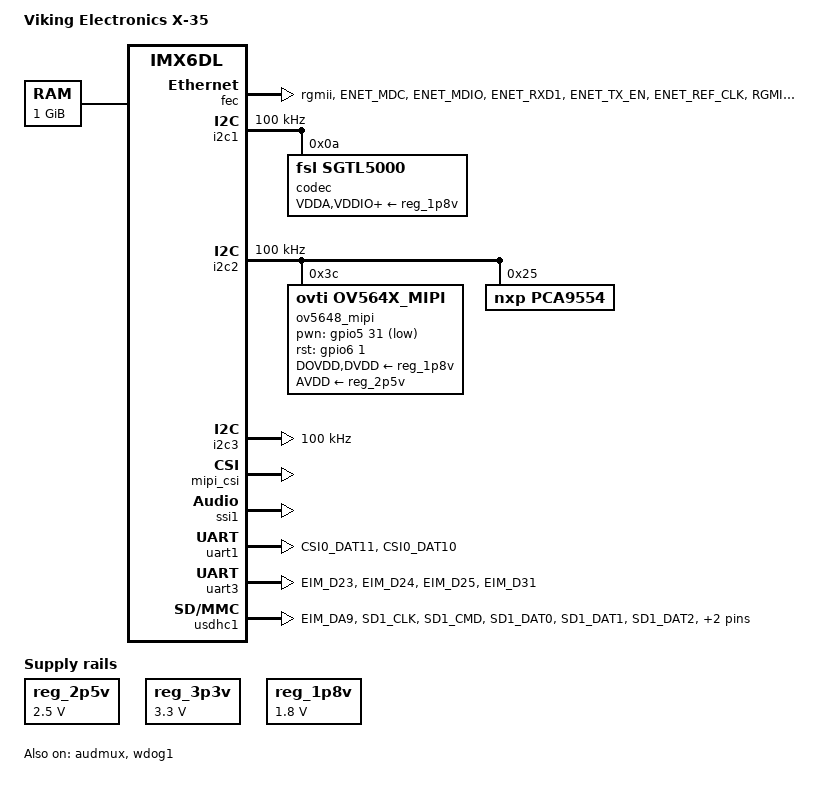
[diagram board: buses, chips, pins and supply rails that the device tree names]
/*
 * Copyright (c) 2018 Viking Electronics, Inc.
 *  All rights reserved
 *
 */
/dts-v1/;

#include <dt-bindings/gpio/gpio.h>
#include <dt-bindings/interrupt-controller/irq.h>
#include "imx6dl.dtsi"
/ {
	model = "Viking Electronics X-35";
	compatible = "fsl,imx6dl";
};

/ {
	chosen {
		stdout-path = &uart1;
	};

	memory: memory {
		reg = <0x10000000 0x40000000>;
	};

	regulators {
		compatible = "simple-bus";
		#address-cells = <1>;
		#size-cells = <0>;

		reg_2p5v: regulator@0 {
			compatible = "regulator-fixed";
			reg = <0>;
			regulator-name = "2P5V";
			regulator-min-microvolt = <2500000>;
			regulator-max-microvolt = <2500000>;
			regulator-always-on;
		};

		reg_3p3v: regulator@1 {
			compatible = "regulator-fixed";
			reg = <1>;
			regulator-name = "3P3V";
			regulator-min-microvolt = <3300000>;
			regulator-max-microvolt = <3300000>;
			regulator-always-on;
		};

		reg_1p8v: regulator@2 {
			compatible = "regulator-fixed";
			reg = <2>;
			regulator-name = "1P8V";
			regulator-min-microvolt = <1800000>;
			regulator-max-microvolt = <1800000>;
			regulator-always-on;
		};
	};

	sound {
		compatible = "fsl,imx-sgtl5000",
			     "fsl,imx-audio-sgtl5000";
		model = "audio-sgtl5000";
		ssi-controller = <&ssi1>;
		audio-routing =
			"MIC_IN", "Mic Jack",
			"Mic Jack", "Mic Bias",
			"Headphone Jack", "HP_OUT";
		mux-int-port = <1>;
		mux-ext-port = <3>;
	};

	v4l2_cap_0 {
		compatible = "fsl,imx6q-v4l2-capture";
		ipu_id = <0>;
		csi_id = <0>;
		mclk_source = <0>;
		status = "okay";
	};

};

&audmux {
	pinctrl-names = "default";
	pinctrl-0 = <&pinctrl_audio>;
	status = "okay";
};

&fec {
	pinctrl-names = "default";
	pinctrl-0 = <&pinctrl_enet>;
	phy-mode = "rgmii";
	phy-reset-gpios = <&gpio1 26 GPIO_ACTIVE_HIGH>;
	status = "okay";
};

&i2c1 {
	clock-frequency = <100000>;
	status = "okay";

	codec: sgtl5000@0a {
		compatible = "fsl,sgtl5000";
		reg = <0x0a>;
		clocks = <&clks 201>;
		VDDA-supply = <&reg_1p8v>;
		VDDIO-supply = <&reg_1p8v>;
		VDDD-supply = <&reg_1p8v>;
	};
};

&i2c2 {
	clock-frequency = <100000>;
	status = "okay";
	
	ov5648_mipi: ov5648_mipi@3c {
		compatible = "ovti,ov564x_mipi";
		reg = <0x3c>;
		clocks = <&clks 200>;
		clock-names = "csi_mclk";
		DOVDD-supply = <&reg_1p8v>;
		AVDD-supply = <&reg_2p5v>;
		DVDD-supply = <&reg_1p8v>;
		pwn-gpios = <&gpio5 31 1>;
		rst-gpios = <&gpio6 1 0>;
		ipu_id = <0>;
		csi_id = <0>;
		mclk = <24000000>;
		mclk_source = <0>;
	};

	pca9554: pca9554@25 {
		compatible = "nxp,pca9554";
		gpio-controller;
		#gpio-cells = <2>;
		#interrupt-cells = <2>;
		reg = <0x25>;
	};
};

&i2c3 {
	clock-frequency = <100000>;
	status = "okay";
};




&mipi_csi {
	ipu_id = <0>;
	csi_id = <0>;
	v_channel = <0>;
	lanes = <2>;
	status = "okay";
};

&ssi1 {
	status = "okay";
};

&uart1 {
	pinctrl-names = "default";
	pinctrl-0 = <&pinctrl_uart1>;
	status = "okay";
};

&uart3 {
	pinctrl-names = "default";
	pinctrl-0 = <&pinctrl_uart3>;
	fsl,uart-has-rtscts;
	status = "okay";
};

&usdhc1 {
	pinctrl-names = "default";
	pinctrl-0 = <&pinctrl_usdhc1>;
	cd-gpios = <&gpio3 9 GPIO_ACTIVE_LOW>;
	status = "okay";
};

&wdog1 {
	status = "okay";
};


&iomuxc {
	pinctrl-names = "default";
	pinctrl-0 = <&pinctrl_hog_1>;

	x-35 {
		pinctrl_hog_1: hoggrp-1 {
			fsl,pins = <
				/* BALL T1 JE1_33 1.8v PIC Reset */
				MX6QDL_PAD_GPIO_2__GPIO1_IO02	0x80000000
				/* BALL T3 JX2_67 3.3v Orange LED */
				MX6QDL_PAD_GPIO_6__GPIO1_IO06	0x80000000
				/* BALL R5 JX2_65 3.3v Green LED */
				MX6QDL_PAD_GPIO_8__GPIO1_IO08	0x80000000
				/* Camera */
				/* BALL L1 JE1_44 1.8v Power Down */
				MX6QDL_PAD_CSI0_DAT13__GPIO5_IO31 0x0000b0b0
				/* BALL M5 JE1_48 1.8v Reset */
				MX6QDL_PAD_CSI0_DAT15__GPIO6_IO01 0x0000b0b0
				/* BALL F21 JE1_45 1.8v SCL */
				MX6QDL_PAD_EIM_D17__I2C3_SCL 	0x4001b8b1
				/* BALL D24 JE1_47 1.8v SDA
				MX6QDL_PAD_EIM_D18__I2C3_SDA	0x4001b8b1
				/* BALL R7 JX2_69 1.8v Clock */
				MX6QDL_PAD_GPIO_3__CCM_CLKO2	0x000000b0
				/* GPIO */
				/* CSI MUX PADS */
				/* BALL P3 JE1_28 1.8v Out */
				MX6QDL_PAD_CSI0_DATA_EN__GPIO5_IO20 0x80000000
				/* BALL N6 JE1_30 1.8v In */
				MX6QDL_PAD_CSI0_DAT8__GPIO5_IO26 0x80000000
				/* BALL N5 JE1_32 1.8v In */
				MX6QDL_PAD_CSI0_DAT9__GPIO5_IO27 0x80000000
				/* BALL M2 JE1_42 1.8v In */
				MX6QDL_PAD_CSI0_DAT12__GPIO5_IO30 0x80000000
				/* BALL M4 JE1_34 1.8v Out */
				MX6QDL_PAD_CSI0_DAT14__GPIO6_IO00 0x80000000
				/* BALL P1 JE1_25 1.8v In */
				MX6QDL_PAD_CSI0_PIXCLK__GPIO5_IO18 0x80000000
				/* BALL N2 JE1_26 1.8v In */
				MX6QDL_PAD_CSI0_VSYNC__GPIO5_IO21 0x80000000
				/* DISP MUX PADS */
				/* BALL P24 JX1_54 3.3v Out */
				MX6QDL_PAD_DISP0_DAT0__GPIO4_IO21  0x0001b0b0
				/* BALL P22 JX1_52 3.3v In */
				MX6QDL_PAD_DISP0_DAT1__GPIO4_IO22  0x0001b0b0
				/* BALL P23 JX1_50 3.3v Out */
				MX6QDL_PAD_DISP0_DAT2__GPIO4_IO23  0x0001b0b0
				/* BALL P21 JX1_48 3.3v In */
				MX6QDL_PAD_DISP0_DAT3__GPIO4_IO24  0x0001b0b0
				/* BALL P20 JX1_46 3.3v Out */
				MX6QDL_PAD_DISP0_DAT4__GPIO4_IO25  0x0001b0b0
				/* BALL R35 JX1_44 3.3v In */
				MX6QDL_PAD_DISP0_DAT5__GPIO4_IO26  0x0001b0b0
				/* BALL R23 JX1_42 3.3v Out */
				MX6QDL_PAD_DISP0_DAT6__GPIO4_IO27  0x0001b0b0
				/* BALL R24 JX1_40 3.3v In */
				MX6QDL_PAD_DISP0_DAT7__GPIO4_IO28  0x0001b0b0
				/* BALL R22 JX1_38 3.3v Out */
				MX6QDL_PAD_DISP0_DAT8__GPIO4_IO29  0x0001b0b0
				/* BALL T25 JX1_36 3.3v In */
				MX6QDL_PAD_DISP0_DAT9__GPIO4_IO30  0x0001b0b0
				/* BALL R21 JX1_34 3.3v Out */
				MX6QDL_PAD_DISP0_DAT10__GPIO4_IO31 0x0001b0b0
				/* BALL T23 JX1_32 3.3v In */
				MX6QDL_PAD_DISP0_DAT11__GPIO5_IO05 0x0001b0b0
				/* BALL T24 JX1_30 3.3v Out */
				MX6QDL_PAD_DISP0_DAT12__GPIO5_IO06 0x0001b0b0
				/* BALL R20 JX1_28 3.3v In */
				MX6QDL_PAD_DISP0_DAT13__GPIO5_IO07 0x0001b0b0
				/* BALL U25 JX1_26 3.3v Out */
				MX6QDL_PAD_DISP0_DAT14__GPIO5_IO08 0x0001b0b0
				/* BALL T22 JX1_24 3.3v In */
				MX6QDL_PAD_DISP0_DAT15__GPIO5_IO09 0x0001b0b0
				/* BALL T21 JX1_22 3.3v Out */
				MX6QDL_PAD_DISP0_DAT16__GPIO5_IO10 0x0001b0b0
				/* BALL U24 JX1_20 3.3v In */
				MX6QDL_PAD_DISP0_DAT17__GPIO5_IO11 0x0001b0b0
				/* BALL V25 JX1_18 3.3v Out */
				MX6QDL_PAD_DISP0_DAT18__GPIO5_IO12 0x0001b0b0
				/* BALL U23 JX1_16 3.3v In */
				MX6QDL_PAD_DISP0_DAT19__GPIO5_IO13 0x0001b0b0
				/* BALL U22 JX1_14 3.3v Out */
				MX6QDL_PAD_DISP0_DAT20__GPIO5_IO14 0x0001b0b0
				/* BALL T20 JX1_12 3.3v In */
				MX6QDL_PAD_DISP0_DAT21__GPIO5_IO15 0x0001b0b0
				/* BALL V24 JX1_10 3.3v Out */
				MX6QDL_PAD_DISP0_DAT22__GPIO5_IO16 0x0001b0b0
				/* BALL W24 JX1_8 3.3v In */
				MX6QDL_PAD_DISP0_DAT23__GPIO5_IO17 0x0001b0b0
				/* EIM MUX PADS */
				/* BALL H19 JX2_40 1.8v In */
				MX6QDL_PAD_EIM_A25__GPIO5_IO02	0x0001b0b0
				/* BALL H24 JE1_55 1.8v Out */
				MX6QDL_PAD_EIM_CS0__GPIO2_IO23	0x0001b0b0
				/* BALL J23 JE1_57 1.8v In */
				MX6QDL_PAD_EIM_CS1__GPIO2_IO24	0x0001b0b0
				/* BALL K22 JE1_51 1.8v Out */
				MX6QDL_PAD_EIM_LBA__GPIO2_IO27	0x0001b0b0
				/* BALL J24 JE1_59 1.8v Out */
				MX6QDL_PAD_EIM_OE__GPIO2_IO25	0x0001b0b0
				/* BALL K20 JE1_53 1.8v In */
				MX6QDL_PAD_EIM_RW__GPIO2_IO26	0x0001b0b0
				/* GPIO MUX PADS */
				/* BALL T2 JE1_35 1.8v In */	
				MX6QDL_PAD_GPIO_9__GPIO1_IO09	0x80000000
				/* BALL P5 JX2_52 3.3v In */
				MX6QDL_PAD_GPIO_19__GPIO4_IO05	0x80000000
				/* KEY MUX PADS */
				/* BALL W6 JX2_19 3.3v In */
				MX6QDL_PAD_KEY_COL2__GPIO4_IO10 0x0001b0b0
				/* BALL U5 JX2_13 3.3v Out */
				MX6QDL_PAD_KEY_COL3__GPIO4_IO12 0x0001b0b0
				/* BALL T6 JX2_25 3.3v In */
				MX6QDL_PAD_KEY_COL4__GPIO4_IO14 0x0001b0b0
				/* BALL W4 JX2_21 3.3v Out */
				MX6QDL_PAD_KEY_ROW2__GPIO4_IO11 0x0001b0b0
				/* BALL T7 JX2_15 3.3v In */
				MX6QDL_PAD_KEY_ROW3__GPIO4_IO13 0x0001b0b0
				/* BALL V5 JX2_27 3.3v Out */
				MX6QDL_PAD_KEY_ROW4__GPIO4_IO15 0x0001b0b0
				/* SD4 MUX PADS */
				/* BALL D18 JX1_4 3.3v In */
				MX6QDL_PAD_SD4_DAT0__GPIO2_IO08 0x80000000
				/* BALL B19 JE1_37 1.8v & JX1_6 3.3v Out */
				MX6QDL_PAD_SD4_DAT1__GPIO2_IO09	0x80000000
				/* BALL F17 JE1_39 1.8v In */
				MX6QDL_PAD_SD4_DAT2__GPIO2_IO10	0x80000000
			>;
		};

		pinctrl_audio: audiogrp {
			fsl,pins = <
				/* BALL N1 JE1_52 1.8v TxC */
				MX6QDL_PAD_CSI0_DAT4__AUD3_TXC	0x000130b0
				/* BALL P2 JE1_56 1.8v TxD */
				MX6QDL_PAD_CSI0_DAT5__AUD3_TXD  0x000110b0
				/* BALL N4 JE1_54 1.8v TxFS */
				MX6QDL_PAD_CSI0_DAT6__AUD3_TXFS	0x000130b0
				/* BALL N3 JE1_50 1.8v RxD */
				MX6QDL_PAD_CSI0_DAT7__AUD3_RXD	0x000130b0
				/* BALL P4 JE1_24 1.8v Clock */
				MX6QDL_PAD_CSI0_MCLK__CCM_CLKO1	0x0001b0b0
				/* BALL H20 JE1_41 1.8v SCL */
				MX6QDL_PAD_EIM_D21__I2C1_SCL	0x4001b8b1
				/* BALL G23 JE1_43 1.8v SDA */
				MX6QDL_PAD_EIM_D28__I2C1_SDA	0x4001b8b1
			>;
		};
				
		pinctrl_enet: enetgrp {
			fsl,pins = <
				/* BALL V20 JX1_33 3.3v RGMII_MDC */
				MX6QDL_PAD_ENET_MDC__ENET_MDC	0x0001b0b0
				/* BALL V23 JX1_35 3.3v RGMII MDIO */
				MX6QDL_PAD_ENET_MDIO__ENET_MDIO	0x0001b0b0
				/* BALL W22 JX1_37 3.3v RGMII Phy Reset */
				MX6QDL_PAD_ENET_RXD1__GPIO1_IO26 0x0001f0b1
				/* BALL V21 JX1_39 3.3v RGMII Tx Enable */
				MX6QDL_PAD_ENET_TX_EN__ENET_TX_EN 0x0001b0b0
				/* BALL V22 JX1_41 3.3v RGMII Ref Clock */
				MX6QDL_PAD_ENET_REF_CLK__ENET_TX_CLK 0x1b0b0
				/* BALL B25 JX1_61 1.5v RGMII Rx Clock */
				MX6QDL_PAD_RGMII_RXC__RGMII_RXC	0x0001b0b0
				/* BALL D22 JX1_45 1.5v RGMII Rx Control */
				MX6QDL_PAD_RGMII_RX_CTL__RGMII_RX_CTL 0x1b0b0
				/* BALL C24 JX1_63 1.5v RGMII Rx Data 0 */
				MX6QDL_PAD_RGMII_RD0__RGMII_RD0	0x0001b0b0
				/* BALL B23 JX1_65 1.5v RGMII Rx Data 1 */
				MX6QDL_PAD_RGMII_RD1__RGMII_RD1	0x0001b0b0
				/* BALL B24 JX1_67 1.5v RGMII Rx Data 2 */
				MX6QDL_PAD_RGMII_RD2__RGMII_RD2	0x0001b0b0
				/* BALL D23 JX1_69 1.5v RGMII Rx Data 3 */
				MX6QDL_PAD_RGMII_RD3__RGMII_RD3	0x0001b0b0
				/* BALL D21 JX1_49 1.5v RGMII Tx Clock */
				MX6QDL_PAD_RGMII_TXC__RGMII_TXC	0x0001b0b0
				/* BALL C23 JX1_43 1.5v RGMII Tx Control */
				MX6QDL_PAD_RGMII_TX_CTL__RGMII_TX_CTL 0x1b0b0
				/* BALL C22 JX1_51 1.5v RGMII Tx Data 0 */
				MX6QDL_PAD_RGMII_TD0__RGMII_TD0	0x0001b0b0
				/* BALL F20 JX1_53 1.5v RGMII Tx Data 1 */
				MX6QDL_PAD_RGMII_TD1__RGMII_TD1	0x0001b0b0
				/* BALL E21 JX1_55 1.5v RGMII Tx Data 2 */
				MX6QDL_PAD_RGMII_TD2__RGMII_TD2	0x0001b0b0
				/* BALL A24 JX1_57 1.5v RGMII Tx Data 3 */
				MX6QDL_PAD_RGMII_TD3__RGMII_TD3	0x0001b0b0
			>;
		};

		pinctrl_pwm2:pwm2grp {
			fsl,pins = <
				MX6QDL_PAD_GPIO_1__PWM2_OUT 	0x0001b0b1
			>;
		};

		pinctrl_uart1: uart1grp {
			fsl,pins = <
				/* BALL M3 JE1_22 1.8v */
				MX6QDL_PAD_CSI0_DAT11__UART1_RX_DATA 0x0001b0b1
				/* BALL M1 JE1_27 1.8v */
				MX6QDL_PAD_CSI0_DAT10__UART1_TX_DATA 0x0001b0b1
			>;
		};

		pinctrl_uart3: uart3grp {
			fsl,pins = <
				/* BALL D25 JE1_65 1.8v */
				MX6QDL_PAD_EIM_D23__UART3_CTS_B	0x0001b0b1
				/* BALL	F22 JE1_46 1.8v */
				MX6QDL_PAD_EIM_D24__UART3_TX_DATA 0x0001b0b1
				/* BALL G22 JE1_61 1.8v */
				MX6QDL_PAD_EIM_D25__UART3_RX_DATA 0x0001b0b1
				/* BALL H21 JE1_63 1.8v */
				MX6QDL_PAD_EIM_D31__UART3_RTS_B 0x0001b0b1
			>;
		};

		pinctrl_usdhc1: usdhc1grp {
			fsl,pins = <
				/* BALL M21 JE1_60 1.8v Card Detect */
				MX6QDL_PAD_EIM_DA9__GPIO3_IO09	0x80000000
				/* BALL D20 JE1_58 1.8v Clock */
				MX6QDL_PAD_SD1_CLK__SD1_CLK 	0x00017071
				/* BALL B21 JE1_62 1.8v Command */
				MX6QDL_PAD_SD1_CMD__SD1_CMD	0x00017071
				/* BALL A21 JE1_66 1.8v Data 0 */
				MX6QDL_PAD_SD1_DAT0__SD1_DATA0	0x00017071
				/* BALL C20 JE1_70 1.8v Data 1 */
				MX6QDL_PAD_SD1_DAT1__SD1_DATA1	0x00017071
				/* BALL E19 JE1_64 1.8v Data 2 */
				MX6QDL_PAD_SD1_DAT2__SD1_DATA2	0x00017071
				/* BALL F18 JE1_68 1.8v Data 3 */
				MX6QDL_PAD_SD1_DAT3__SD1_DATA3	0x00017071
			>;
		};
	};
};
